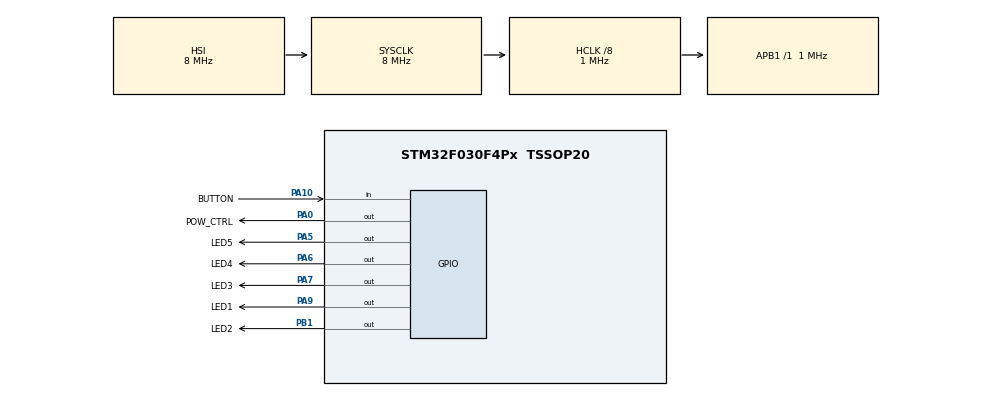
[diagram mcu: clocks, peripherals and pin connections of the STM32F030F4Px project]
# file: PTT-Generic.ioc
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Mcu.Family=STM32F0
Mcu.Name=STM32F030F4Px
Mcu.Package=TSSOP20
PA0.GPIO_Label=POW_CTRL
PA0.PinState=GPIO_PIN_SET
PA0.Signal=GPIO_Output
PA10.GPIO_Label=BUTTON
PA10.Signal=GPIO_Input
PA13.Mode=Serial_Wire
PA13.Signal=SYS_SWDIO
PA14.Mode=Serial_Wire
PA14.Signal=SYS_SWCLK
PA5.GPIO_Label=LED5
PA5.Signal=GPIO_Output
PA6.GPIO_Label=LED4
PA6.Signal=GPIO_Output
PA7.GPIO_Label=LED3
PA7.Signal=GPIO_Output
PA9.GPIO_Label=LED1
PA9.Signal=GPIO_Output
PB1.GPIO_Label=LED2
PB1.Signal=GPIO_Output
ProjectManager.HeapSize=0x00
ProjectManager.StackSize=0x400
ProjectManager.TargetToolchain=TrueSTUDIO
RCC.AHBCLKDivider=RCC_SYSCLK_DIV8
RCC.AHBFreq_Value=1000000
RCC.APB1Freq_Value=1000000
RCC.APB1TimFreq_Value=1000000
RCC.HCLKFreq_Value=1000000
RCC.PLLMUL=RCC_PLL_MUL4
RCC.SYSCLKFreq_VALUE=8000000
VP_IWDG_VS_IWDG.Mode=IWDG_Activate
board=custom

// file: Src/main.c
/* USER CODE BEGIN Header */
/**
  ******************************************************************************
  * @file           : main.c
  * @brief          : Main program body
  ******************************************************************************
  ** This notice applies to any and all portions of this file
  * that are not between comment pairs USER CODE BEGIN and
  * USER CODE END. Other portions of this file, whether
  * inserted by the user or by software development tools
  * are owned by their respective copyright owners.
  *
  * COPYRIGHT(c) 2019 STMicroelectronics
  *
  * Redistribution and use in source and binary forms, with or without modification,
  * are permitted provided that the following conditions are met:
  *   1. Redistributions of source code must retain the above copyright notice,
  *      this list of conditions and the following disclaimer.
  *   2. Redistributions in binary form must reproduce the above copyright notice,
  *      this list of conditions and the following disclaimer in the documentation
  *      and/or other materials provided with the distribution.
  *   3. Neither the name of STMicroelectronics nor the names of its contributors
  *      may be used to endorse or promote products derived from this software
  *      without specific prior written permission.
  *
  * THIS SOFTWARE IS PROVIDED BY THE COPYRIGHT HOLDERS AND CONTRIBUTORS "AS IS"
  * AND ANY EXPRESS OR IMPLIED WARRANTIES, INCLUDING, BUT NOT LIMITED TO, THE
  * IMPLIED WARRANTIES OF MERCHANTABILITY AND FITNESS FOR A PARTICULAR PURPOSE ARE
  * DISCLAIMED. IN NO EVENT SHALL THE COPYRIGHT HOLDER OR CONTRIBUTORS BE LIABLE
  * FOR ANY DIRECT, INDIRECT, INCIDENTAL, SPECIAL, EXEMPLARY, OR CONSEQUENTIAL
  * DAMAGES (INCLUDING, BUT NOT LIMITED TO, PROCUREMENT OF SUBSTITUTE GOODS OR
  * SERVICES; LOSS OF USE, DATA, OR PROFITS; OR BUSINESS INTERRUPTION) HOWEVER
  * CAUSED AND ON ANY THEORY OF LIABILITY, WHETHER IN CONTRACT, STRICT LIABILITY,
  * OR TORT (INCLUDING NEGLIGENCE OR OTHERWISE) ARISING IN ANY WAY OUT OF THE USE
  * OF THIS SOFTWARE, EVEN IF ADVISED OF THE POSSIBILITY OF SUCH DAMAGE.
  *
  ******************************************************************************
  */
/* USER CODE END Header */

#include "main.h"

IWDG_HandleTypeDef hiwdg;

void SystemClock_Config(void);
static void MX_GPIO_Init(void);
static void MX_IWDG_Init(void);
/* USER CODE BEGIN PFP */
void PTT_State_Machine ( void );
void LED_Driver ( uint8_t LED_5_Bit );
/* USER CODE END PFP */

int main(void)
{

  /* MCU Configuration--------------------------------------------------------*/

  /* Reset of all peripherals, Initializes the Flash interface and the Systick. */
  HAL_Init();

  /* Configure the system clock */
  SystemClock_Config();

  /* Initialize all configured peripherals */
  MX_GPIO_Init();
  MX_IWDG_Init();

  /* Infinite loop */
  /* USER CODE BEGIN WHILE */
  while (1)
  {
      HAL_IWDG_Refresh ( &hiwdg );
      PTT_State_Machine ( );
    /* USER CODE END WHILE */

  }
}

void SystemClock_Config(void)
{
  RCC_OscInitTypeDef RCC_OscInitStruct = {0};
  RCC_ClkInitTypeDef RCC_ClkInitStruct = {0};

  /**Initializes the CPU, AHB and APB busses clocks
  */
  RCC_OscInitStruct.OscillatorType = RCC_OSCILLATORTYPE_HSI|RCC_OSCILLATORTYPE_LSI;
  RCC_OscInitStruct.HSIState = RCC_HSI_ON;
  RCC_OscInitStruct.HSICalibrationValue = RCC_HSICALIBRATION_DEFAULT;
  RCC_OscInitStruct.LSIState = RCC_LSI_ON;
  RCC_OscInitStruct.PLL.PLLState = RCC_PLL_NONE;
  if (HAL_RCC_OscConfig(&RCC_OscInitStruct) != HAL_OK)
  {
    Error_Handler();
  }
  /**Initializes the CPU, AHB and APB busses clocks
  */
  RCC_ClkInitStruct.ClockType = RCC_CLOCKTYPE_HCLK|RCC_CLOCKTYPE_SYSCLK
                              |RCC_CLOCKTYPE_PCLK1;
  RCC_ClkInitStruct.SYSCLKSource = RCC_SYSCLKSOURCE_HSI;
  RCC_ClkInitStruct.AHBCLKDivider = RCC_SYSCLK_DIV8;
  RCC_ClkInitStruct.APB1CLKDivider = RCC_HCLK_DIV1;

  if (HAL_RCC_ClockConfig(&RCC_ClkInitStruct, FLASH_LATENCY_0) != HAL_OK)
  {
    Error_Handler();
  }
}

static void MX_IWDG_Init(void)
{

  hiwdg.Instance = IWDG;
  hiwdg.Init.Prescaler = IWDG_PRESCALER_4;
  hiwdg.Init.Window = 4095;
  hiwdg.Init.Reload = 4095;
  if (HAL_IWDG_Init(&hiwdg) != HAL_OK)
  {
    Error_Handler();
  }

}

static void MX_GPIO_Init(void)
{
  GPIO_InitTypeDef GPIO_InitStruct = {0};

  /* GPIO Ports Clock Enable */
  __HAL_RCC_GPIOA_CLK_ENABLE();
  __HAL_RCC_GPIOB_CLK_ENABLE();

  /*Configure GPIO pin Output Level */
  HAL_GPIO_WritePin(POW_CTRL_GPIO_Port, POW_CTRL_Pin, GPIO_PIN_SET);

  /*Configure GPIO pin Output Level */
  HAL_GPIO_WritePin(GPIOA, LED5_Pin|LED4_Pin|LED3_Pin|LED1_Pin, GPIO_PIN_RESET);

  /*Configure GPIO pin Output Level */
  HAL_GPIO_WritePin(LED2_GPIO_Port, LED2_Pin, GPIO_PIN_RESET);

  /*Configure GPIO pins : POW_CTRL_Pin LED5_Pin LED4_Pin LED3_Pin
                           LED1_Pin */
  GPIO_InitStruct.Pin = POW_CTRL_Pin|LED5_Pin|LED4_Pin|LED3_Pin
                          |LED1_Pin;
  GPIO_InitStruct.Mode = GPIO_MODE_OUTPUT_PP;
  GPIO_InitStruct.Pull = GPIO_NOPULL;
  GPIO_InitStruct.Speed = GPIO_SPEED_FREQ_LOW;
  HAL_GPIO_Init(GPIOA, &GPIO_InitStruct);

  /*Configure GPIO pin : LED2_Pin */
  GPIO_InitStruct.Pin = LED2_Pin;
  GPIO_InitStruct.Mode = GPIO_MODE_OUTPUT_PP;
  GPIO_InitStruct.Pull = GPIO_NOPULL;
  GPIO_InitStruct.Speed = GPIO_SPEED_FREQ_LOW;
  HAL_GPIO_Init(LED2_GPIO_Port, &GPIO_InitStruct);

  /*Configure GPIO pin : BUTTON_Pin */
  GPIO_InitStruct.Pin = BUTTON_Pin;
  GPIO_InitStruct.Mode = GPIO_MODE_INPUT;
  GPIO_InitStruct.Pull = GPIO_NOPULL;
  HAL_GPIO_Init(BUTTON_GPIO_Port, &GPIO_InitStruct);

}

/* USER CODE BEGIN 4 */
enum State {
    INITIAL = 0,
    WAIT_1_PUSH = 1,
    DOWN_CNT = 2,
    WAIT_2_PUSH = 3,
    DOWN_CNT_2 = 4,
    KILL_MYSELF = 5,
};

uint8_t System_State = INITIAL;

/*
 * @about: Main system state machine.
 */
void PTT_State_Machine ( void )
{
    const uint32_t Global_Timeout = 1 * 60 * 60 * 1000; // 1 hour
    const uint32_t Global_Timeout_Initial = 1 * 60 * 1 * 1000; // 1 hour

    static uint32_t SM_ShutDownCounter = 0;

    const uint32_t SM_Period = 100 - 1;
    static uint32_t SM_TimeStamp = 0;

    static uint32_t SM_DowncounterTimeStamp = 0;
    static uint32_t SM_DowncounterTime = 0;

    static uint8_t SM_Anm_Cntr = 0;
    static uint8_t SM_LEDAnm1 = 0;
    static uint8_t SM_LEDAnm2 = 0;

    if ( ( HAL_GetTick ( ) - SM_TimeStamp ) > SM_Period )
    {
        SM_TimeStamp = HAL_GetTick ( );

        if ( HAL_GPIO_ReadPin ( BUTTON_GPIO_Port, BUTTON_Pin ) )
        {
        	++SM_ShutDownCounter;
        }
        else
        {
        	if ( SM_ShutDownCounter > 50 )
        	{
        	    HAL_Delay(20);
        		HAL_GPIO_WritePin(POW_CTRL_GPIO_Port, POW_CTRL_Pin, GPIO_PIN_RESET);
        	}
        	else
        	{
        	    if ( SM_ShutDownCounter > 10 )
        	    {
        	        SM_ShutDownCounter -= 2;
        	    }
        	    else
        	    {
        	        SM_ShutDownCounter = 0;
        	    }
        	}
        }

        switch ( System_State )
        {
            case INITIAL:

                ++SM_Anm_Cntr;

                if ( SM_Anm_Cntr < 3 )
                {
                    LED_Driver ( 0x01 );
                }
                else if ( SM_Anm_Cntr < 6 )
                {
                    LED_Driver ( 0x03 );
                }
                else if ( SM_Anm_Cntr < 9 )
                {
                    LED_Driver ( 0x07 );
                }
                else if ( SM_Anm_Cntr < 12 )
                {
                    LED_Driver ( 0x0F );
                }
                else if ( SM_Anm_Cntr < 15 )
                {
                    LED_Driver ( 0x1F );
                }
                else
                {
                    SM_Anm_Cntr = 0;
                    System_State = WAIT_1_PUSH;
                }

            break;

            case WAIT_1_PUSH:

                ++SM_Anm_Cntr;

                if ( SM_Anm_Cntr == 4 )
                {
                    LED_Driver ( 0x00 );
                }
                else if ( SM_Anm_Cntr >= 9 )
                {
                    LED_Driver ( 0x1F );
                    SM_Anm_Cntr = 0;
                }

                if ( HAL_GPIO_ReadPin ( BUTTON_GPIO_Port, BUTTON_Pin ) )
                {
                    System_State = DOWN_CNT;
                    SM_DowncounterTimeStamp = 10 * 60 * 25; /* 25 minutes */
                    SM_DowncounterTime = SM_DowncounterTimeStamp;
                }

            break;

            case DOWN_CNT:

                --SM_DowncounterTime;

                if ( SM_DowncounterTime > ( ( SM_DowncounterTimeStamp * 4 ) / 5 ) )
                {
                    SM_LEDAnm1 = 0x1E;
                    SM_LEDAnm2 = 0x1F;
                }
                else if ( SM_DowncounterTime > ( ( SM_DowncounterTimeStamp * 3 ) / 5 ) )
                {
                    SM_LEDAnm1 = 0x1C;
                    SM_LEDAnm2 = 0x1E;
                }
                else if ( SM_DowncounterTime > ( ( SM_DowncounterTimeStamp * 2 ) / 5 ) )
                {
                    SM_LEDAnm1 = 0x18;
                    SM_LEDAnm2 = 0x1C;
                }
                else if ( SM_DowncounterTime > ( ( SM_DowncounterTimeStamp * 1 ) / 5 ) )
                {
                    SM_LEDAnm1 = 0x10;
                    SM_LEDAnm2 = 0x18;
                }
                else if ( ( SM_DowncounterTime < ( ( SM_DowncounterTimeStamp * 1 ) / 5 ) ) && SM_DowncounterTime != 0 )
                {
                    SM_LEDAnm1 = 0x00;
                    SM_LEDAnm2 = 0x10;
                }
                else if ( SM_DowncounterTime == 0 )
                {
                    System_State = WAIT_2_PUSH;
                }

                ++SM_Anm_Cntr;

                if ( SM_Anm_Cntr == 4 )
                {
                    LED_Driver ( SM_LEDAnm1 );
                }
                else if ( SM_Anm_Cntr >= 9 )
                {
                    LED_Driver ( SM_LEDAnm2 );
                    SM_Anm_Cntr = 0;
                }

            break;

            case WAIT_2_PUSH:

                ++SM_Anm_Cntr;

                if ( SM_Anm_Cntr == 2 )
                {
                    LED_Driver ( 0x00 );
                }
                else if ( SM_Anm_Cntr >= 9 )
                {
                    LED_Driver ( 0x1F );
                    SM_Anm_Cntr = 0;
                }

                if ( HAL_GPIO_ReadPin ( BUTTON_GPIO_Port, BUTTON_Pin ) )
                {
                    System_State = DOWN_CNT_2;
                    SM_DowncounterTimeStamp = 10 * 60 * 5; /* 5 minutes */
                    SM_DowncounterTime = SM_DowncounterTimeStamp;
                }

            break;

            case DOWN_CNT_2:

                --SM_DowncounterTime;

                if ( SM_DowncounterTime > ( ( SM_DowncounterTimeStamp * 4 ) / 5 ) )
                {
                    SM_LEDAnm1 = 0x1E;
                    SM_LEDAnm2 = 0x1F;
                }
                else if ( SM_DowncounterTime > ( ( SM_DowncounterTimeStamp * 3 ) / 5 ) )
                {
                    SM_LEDAnm1 = 0x1C;
                    SM_LEDAnm2 = 0x1E;
                }
                else if ( SM_DowncounterTime > ( ( SM_DowncounterTimeStamp * 2 ) / 5 ) )
                {
                    SM_LEDAnm1 = 0x18;
                    SM_LEDAnm2 = 0x1C;
                }
                else if ( SM_DowncounterTime > ( ( SM_DowncounterTimeStamp * 1 ) / 5 ) )
                {
                    SM_LEDAnm1 = 0x10;
                    SM_LEDAnm2 = 0x18;
                }
                else if ( ( SM_DowncounterTime < ( ( SM_DowncounterTimeStamp * 1 ) / 5 ) ) && SM_DowncounterTime != 0 )
                {
                    SM_LEDAnm1 = 0x00;
                    SM_LEDAnm2 = 0x10;
                }
                else if ( SM_DowncounterTime == 0 )
                {
                    System_State = KILL_MYSELF;
                }

                ++SM_Anm_Cntr;

                if ( SM_Anm_Cntr == 2 )
                {
                    LED_Driver ( SM_LEDAnm1 );
                }
                else if ( SM_Anm_Cntr >= 9 )
                {
                    LED_Driver ( SM_LEDAnm2 );
                    SM_Anm_Cntr = 0;
                }

            break;

            case KILL_MYSELF:
                HAL_GPIO_WritePin(POW_CTRL_GPIO_Port, POW_CTRL_Pin, GPIO_PIN_RESET);
            break;

            default:

            break;

        }
    }

    if ( System_State == WAIT_1_PUSH )
    {
        if ( HAL_GetTick ( ) > Global_Timeout_Initial )
        {
            HAL_GPIO_WritePin(POW_CTRL_GPIO_Port, POW_CTRL_Pin, GPIO_PIN_RESET );
        }
    }

    /* Battery saving. To avoid unnecessary use. */
    if ( HAL_GetTick ( ) > Global_Timeout )
    {
        HAL_GPIO_WritePin(POW_CTRL_GPIO_Port, POW_CTRL_Pin, GPIO_PIN_RESET );
    }
}

/*
 * @about: Drives LEDs on PTT.
 */
void LED_Driver ( uint8_t LED_5_Bit )
{
    uint8_t ldloop_i = 0;

    for ( ; ldloop_i < 5 ; ++ldloop_i )
    {
        switch ( ldloop_i )
        {
            case 0:
                HAL_GPIO_WritePin(LED1_GPIO_Port, LED1_Pin, ( LED_5_Bit & 0x01 ) );
            break;

            case 1:
                HAL_GPIO_WritePin(LED2_GPIO_Port, LED2_Pin, ( ( LED_5_Bit >> 1 ) & 0x01 ) );
            break;

            case 2:
                HAL_GPIO_WritePin(LED3_GPIO_Port, LED3_Pin, ( ( LED_5_Bit >> 2 ) & 0x01 ) );
            break;

            case 3:
                HAL_GPIO_WritePin(LED4_GPIO_Port, LED4_Pin, ( ( LED_5_Bit >> 3 ) & 0x01 ) );
            break;

            case 4:
                HAL_GPIO_WritePin(LED5_GPIO_Port, LED5_Pin, ( ( LED_5_Bit >> 4 ) & 0x01 ) );
            break;

            default:

            break;
        }
    }
}

/* USER CODE END 4 */

void Error_Handler(void)
{
}

/************************ (C) COPYRIGHT STMicroelectronics *****END OF FILE****/
